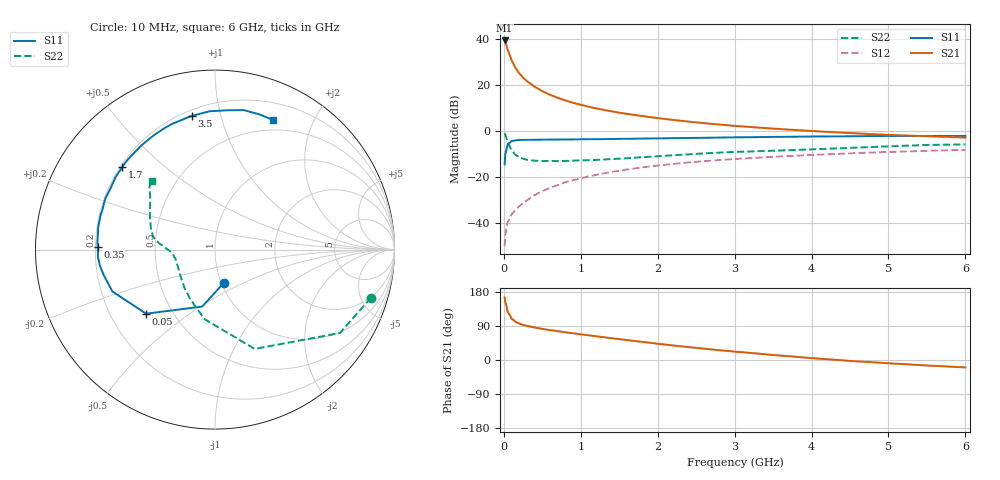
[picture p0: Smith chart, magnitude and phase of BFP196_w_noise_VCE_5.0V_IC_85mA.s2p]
! Infineon Technologies  Discrete & RF Semiconductors
! BFP196
! VCE =  5.0 V,  IC =  85 mA
! Common Emitter S-Parameters:  Jan 2017
# GHz  S  MA  R  50
!  f  S11  S21  S12  S22
! GHz  MAG  ANG  MAG  ANG  MAG  ANG  MAG  ANG
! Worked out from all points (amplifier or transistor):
!   77 points, 10 MHz to 6 GHz, reference 50 ohm
!   highest |S21| = 39.5 dB at 10 MHz (marker M1)
!   |S21| within 3 dB of that: start of sweep to 40.43 MHz
!   unconditionally stable (mu >= 1): 451.8 MHz to 2.408 GHz
!   at 130 MHz: K = 0.73, MSG = 32.0 dB, |S12| = -35.0 dB
!   at 2.2 GHz: K = 1.01, MAG = 8.9 dB, |S12| = -14.2 dB
!   at 6 GHz: K = 0.95, MSG = 2.7 dB, |S12| = -8.0 dB
!   lowest NFmin = 1.85 dB at 450 MHz
!   S11 on the Smith chart (normalised r, x): 10 MHz: 1.03, -0.39; 50 MHz: 0.35, -0.35; 350 MHz: 0.21, +0.01; 1.7 GHz: 0.21, +0.37; 3.5 GHz: 0.23, +0.81; 6 GHz: 0.38, +1.47
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0.01  0.1911 -74.8  94.01 165.1  0.0032 74.2  0.9088 -17.2
0.02  0.325 -102.6  87.49 152.0  0.0056 74.5  0.8371 -33.7
0.05  0.5245 -137.1  59.11 126.4  0.0106 57.1  0.5959 -68.2
0.1  0.6173 -157.8  34.84 108.7  0.0155 57.2  0.3915 -98.6
0.15  0.6363 -167.1  24.02 101.0  0.0194 60.1  0.3099 -116.1
0.2  0.6476 -172.1  18.26 96.1  0.0235 63.9  0.2741 -128.0
0.25  0.6534 -176.2  14.69 92.5  0.0276 65.7  0.2532 -136.1
0.3  0.6525 -179.1  12.28 90.0  0.0315 68.6  0.2415 -143.0
0.35  0.654 178.7  10.77 88.1  0.0363 68.9  0.2353 -147.2
0.4  0.6564 176.5  9.285 85.6  0.0411 69.1  0.2305 -151.6
0.5  0.6583 172.5  7.437 82.1  0.0503 69.7  0.2265 -157.4
0.6  0.6624 169.3  6.227 78.9  0.059 69.4  0.2269 -162.0
0.8  0.6657 163.1  4.682 73.2  0.0782 69.1  0.227 -167.8
1.1  0.674 154.6  3.429 65.3  0.1046 66.0  0.2357 -173.4
1.4  0.6801 146.3  2.721 57.5  0.1309 62.0  0.2497 -177.7
1.7  0.6906 138.3  2.262 50.1  0.1564 57.7  0.2669 179.5
2.1  0.705 128.2  1.849 40.7  0.1876 52.0  0.2945 175.5
3.1  0.7418 107.1  1.277 20.5  0.2556 38.0  0.3605 165.7
3.5  0.7562 99.9  1.143 13.1  0.2792 33.2  0.3789 160.7
4.1  0.7722 90.6  0.994 3.5  0.3111 25.6  0.4107 151.9
5.1  0.7926 77.0  0.825 -9.8  0.3595 13.9  0.4775 139.3
6  0.7913 66.1  0.731 -19.7  0.3961 3.9  0.5199 132.7
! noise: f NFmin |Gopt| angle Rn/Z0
0.45  1.85  0.51  -169  0.06
0.9  2.01  0.54  -157  0.1
1.9  2.88  0.7  -129  0.43
2.4  3.28  0.7  -116  0.89
